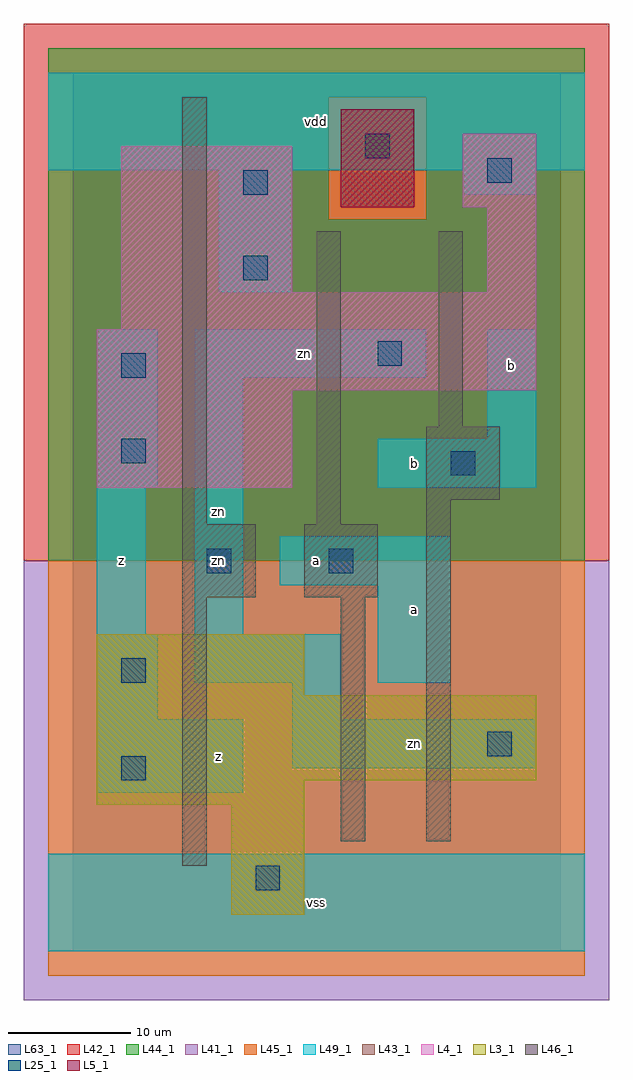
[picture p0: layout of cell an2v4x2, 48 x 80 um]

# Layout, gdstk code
import gdstk
lib = gdstk.Library(unit=1e-6, precision=1e-09)
def R(c, l, rs):  # rectangles x0, y0, x1, y1
    for r in rs: c.add(gdstk.rectangle(r[:2], r[2:], *l))
L3_1 = (3, 1)
L4_1 = (4, 1)
L5_1 = (5, 1)
L25_1 = (25, 1)
L41_1 = (41, 1)
L42_1 = (42, 1)
L43_1 = (43, 1)
L44_1 = (44, 1)
L45_1 = (45, 1)
L46_1 = (46, 1)
L49_1 = (49, 1)
L63_1 = (63, 1)

an2v4x2 = lib.new_cell('an2v4x2')
R(an2v4x2, L3_1, [(13,3,19,12), (2,12,19,14), (2,14,38,21), (2,21,19,26)])
R(an2v4x2, L4_1, [(2,38,18,46), (2,46,38,51), (4,51,38,54), (4,54,18,66), (34,54,38,61), (32,61,38,67)])
R(an2v4x2, L5_1, [(22,61,28,69)])
R(an2v4x2, L25_1, [(15,5,17,7), (4,14,6,16), (34,16,36,18), (4,22,6,24), (11,31,13,33), (21,31,23,33), (31,39,33,41), (4,40,6,42), (4,47,6,49), (25,48,27,50), (14,55,16,57), (14,62,16,64), (34,63,36,65), (24,65,26,67)])
R(an2v4x2, L41_1, [(-4,-4,44,32)])
R(an2v4x2, L42_1, [(-4,32,44,76)])
R(an2v4x2, L43_1, [(13,3,19,12), (2,12,19,14), (2,14,38,21), (2,21,19,26), (2,38,18,46), (2,46,38,51), (4,51,38,54), (4,54,18,66), (34,54,38,61), (22,61,28,69), (32,61,38,67)])
R(an2v4x2, L44_1, [(-2,32,42,60), (-2,60,21,70), (29,60,42,70), (-2,70,42,74)])
R(an2v4x2, L45_1, [(-2,-2,42,32), (21,60,29,70)])
R(an2v4x2, L46_1, [(9,7,11,29), (22,9,24,29), (29,9,31,37), (9,29,15,35), (19,29,25,35), (9,35,11,70), (20,35,22,59), (29,37,35,43), (30,43,32,59)])
R(an2v4x2, L49_1, [(-2,0,42,8), (2,13,14,19), (18,15,38,19), (2,19,7,26), (18,19,22,22), (10,22,22,26), (25,22,31,30), (2,26,6,38), (10,26,14,47), (17,30,31,34), (2,38,7,51), (25,38,38,42), (34,42,38,51), (10,47,29,51), (12,54,18,64), (32,62,38,64), (-2,64,42,72)])
R(an2v4x2, L63_1, [(0,0,40,72)])
an2v4x2.add(gdstk.Label('zn', (12,32), layer=49, texttype=1))
an2v4x2.add(gdstk.Label('z', (4,32), layer=49, texttype=1))
an2v4x2.add(gdstk.Label('z', (12,16), layer=49, texttype=1))
an2v4x2.add(gdstk.Label('zn', (12,36), layer=49, texttype=1))
an2v4x2.add(gdstk.Label('vss', (20,4), layer=49, texttype=1))
an2v4x2.add(gdstk.Label('a', (20,32), layer=49, texttype=1))
an2v4x2.add(gdstk.Label('a', (28,28), layer=49, texttype=1))
an2v4x2.add(gdstk.Label('b', (28,40), layer=49, texttype=1))
an2v4x2.add(gdstk.Label('zn', (19,49), layer=49, texttype=1))
an2v4x2.add(gdstk.Label('vdd', (20,68), layer=49, texttype=1))
an2v4x2.add(gdstk.Label('zn', (28,17), layer=49, texttype=1))
an2v4x2.add(gdstk.Label('b', (36,48), layer=49, texttype=1))

lib.write_gds('an2v4x2.gds')
